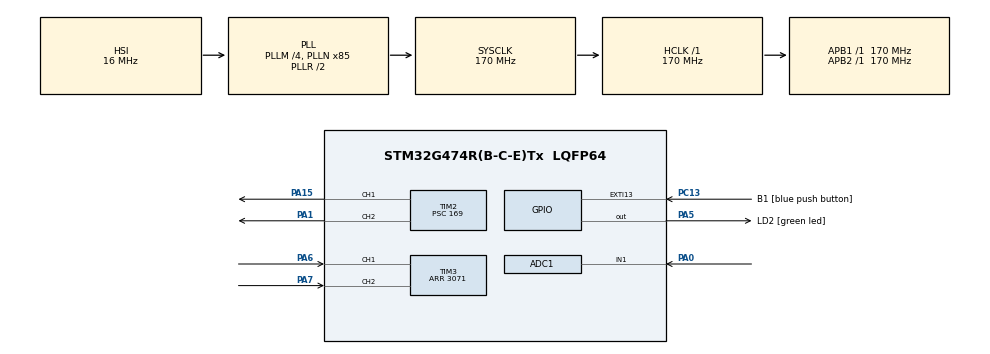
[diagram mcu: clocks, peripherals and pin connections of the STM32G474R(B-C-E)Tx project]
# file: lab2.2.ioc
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ADC1.Channel-0\#ChannelRegularConversion=ADC_CHANNEL_1
ADC1.NbrOfConversionFlag=1
ADC1.OffsetNumber-0\#ChannelRegularConversion=ADC_OFFSET_NONE
ADC1.Rank-0\#ChannelRegularConversion=1
ADC1.SamplingTime-0\#ChannelRegularConversion=ADC_SAMPLETIME_2CYCLES_5
ADC1.master=1
ARM.CMSIS-DSP.1.15.0.CMSISJjDSP=Source
ARM.CMSIS.6.0.0.CMSISJjCORE=true
Mcu.Family=STM32G4
Mcu.Name=STM32G474R(B-C-E)Tx
Mcu.Package=LQFP64
NVIC.EXTI15_10_IRQn=true\:0\:0\:false\:false\:true\:true\:true\:true
NVIC.PriorityGroup=NVIC_PRIORITYGROUP_4
PA0.Mode=IN1-Single-Ended
PA0.Signal=ADC1_IN1
PA1.Signal=S_TIM2_CH2
PA13.GPIO_Label=T_SWDIO
PA13.Mode=Trace_Asynchronous_SW
PA13.Signal=SYS_JTMS-SWDIO
PA14.GPIO_Label=T_SWCLK
PA14.Mode=Trace_Asynchronous_SW
PA14.Signal=SYS_JTCK-SWCLK
PA15.Signal=S_TIM2_CH1
PA2.GPIO_Label=LPUART1_TX [STLINKV3E_VCP_RX]
PA2.Signal=LPUART1_TX
PA3.GPIO_Label=LPUART1_RX [STLINKV3E_VCP_TX]
PA3.Signal=LPUART1_RX
PA5.GPIO_Label=LD2 [green led]
PA5.Signal=GPIO_Output
PA6.Signal=S_TIM3_CH1
PA7.Signal=S_TIM3_CH2
PB3.GPIO_Label=T_SWO
PB3.Mode=Trace_Asynchronous_SW
PB3.Signal=SYS_JTDO-SWO
PC13.GPIO_Label=B1 [blue push button]
PC13.Signal=GPXTI13
PC14-OSC32_IN.Mode=LSE-External-Oscillator
PC14-OSC32_IN.Signal=RCC_OSC32_IN
PC15-OSC32_OUT.Mode=LSE-External-Oscillator
PC15-OSC32_OUT.Signal=RCC_OSC32_OUT
PF0-OSC_IN.Mode=HSE-External-Oscillator
PF0-OSC_IN.Signal=RCC_OSC_IN
PF1-OSC_OUT.Mode=HSE-External-Oscillator
PF1-OSC_OUT.Signal=RCC_OSC_OUT
ProjectManager.HeapSize=0x200
ProjectManager.StackSize=0x400
ProjectManager.TargetToolchain=STM32CubeIDE
RCC.ADC12Freq_Value=170000000
RCC.ADC345Freq_Value=170000000
RCC.AHBFreq_Value=170000000
RCC.APB1Freq_Value=170000000
RCC.APB1TimFreq_Value=170000000
RCC.APB2Freq_Value=170000000
RCC.APB2TimFreq_Value=170000000
RCC.CortexFreq_Value=170000000
RCC.EXTERNAL_CLOCK_VALUE=12288000
RCC.HCLKFreq_Value=170000000
RCC.HSE_VALUE=24000000
RCC.HSI48_VALUE=48000000
RCC.HSI_VALUE=16000000
RCC.PLLM=RCC_PLLM_DIV4
RCC.PLLN=85
RCC.RTCClockSelection=RCC_RTCCLKSOURCE_LSE
RCC.SYSCLKFreq_VALUE=170000000
RCC.SYSCLKSource=RCC_SYSCLKSOURCE_PLLCLK
RCC.USBFreq_Value=170000000
RCC.VCOOutputFreq_Value=340000000
SH.S_TIM2_CH1.0=TIM2_CH1,PWM Generation1 CH1
SH.S_TIM2_CH2.0=TIM2_CH2,PWM Generation2 CH2
SH.S_TIM3_CH1.0=TIM3_CH1,Encoder_Interface
SH.S_TIM3_CH2.0=TIM3_CH2,Encoder_Interface
TIM2.Channel-PWM\ Generation1\ CH1=TIM_CHANNEL_1
TIM2.Channel-PWM\ Generation2\ CH2=TIM_CHANNEL_2
TIM2.PeriodNoDither=19999
TIM2.Prescaler=169
TIM2.PulseNoDither_1=2000
TIM3.EncoderMode=TIM_ENCODERMODE_TI12
TIM3.PeriodNoDither=3071
VP_ARM.CMSIS-DSP_VS_CMSISJjDSP_1.15.0_1.15.0.Mode=CMSISJjDSP
VP_ARM.CMSIS_VS_CMSISJjCORE_6.0.0_6.0.0.Mode=CMSISJjCORE
VP_SYS_VS_DBSignals.Mode=DisableDeadBatterySignals
VP_TIM2_VS_ClockSourceINT.Mode=Internal
board=NUCLEO-G474RE

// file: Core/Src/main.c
/* USER CODE BEGIN Header */
/**
  ******************************************************************************
  * @file           : main.c
  * @brief          : Main program body
  ******************************************************************************
  * @attention
  *
  * Copyright (c) 2024 STMicroelectronics.
  * All rights reserved.
  *
  * This software is licensed under terms that can be found in the LICENSE file
  * in the root directory of this software component.
  * If no LICENSE file comes with this software, it is provided AS-IS.
  *
  ******************************************************************************
  */
/* USER CODE END Header */
#include "main.h"

/* USER CODE BEGIN Includes */
#include "arm_math.h"
/* USER CODE END Includes */

ADC_HandleTypeDef hadc1;

TIM_HandleTypeDef htim2;
TIM_HandleTypeDef htim3;

/* USER CODE BEGIN PV */
arm_pid_instance_f32 PID = {0};
float position =0;
float setposition =0;
float Vfeedback = 0;
float speed=0;

uint32_t QEIReadRaw;
float Angular=0;
float MotorSetpoint=0;

//ADC
struct _ADC_tag
{
ADC_ChannelConfTypeDef Config;
uint16_t data;
};
struct _ADC_tag ADC1_Channel[1] =
{
{
.Config.Channel = ADC_CHANNEL_1,
.Config.Rank = ADC_REGULAR_RANK_1,
.Config.SamplingTime = ADC_SAMPLETIME_640CYCLES_5,
.Config.SingleDiff = ADC_SINGLE_ENDED,
.Config.OffsetNumber = ADC_OFFSET_NONE,
.Config.Offset = 0,
.data = 0
},

};

//float PlantSimulation(float VIn) // run with fix frequency
//	  {
//	  static float speed =0;
//	  static float position =0;
//	  float current= VIn - speed * 0.0123;
//	  float torque = current * 0.456;
//	  float acc = torque * 0.789;
//	  speed += acc;
//	  position += speed;
//	  return position;
//	  }
/* USER CODE END PV */

void SystemClock_Config(void);
static void MX_GPIO_Init(void);
static void MX_TIM3_Init(void);
static void MX_ADC1_Init(void);
static void MX_TIM2_Init(void);
/* USER CODE BEGIN PFP */
void ADC_Read_blocking();
float PlantSimulation(float VIn) ;

/* USER CODE END PFP */

int main(void)
{

  /* MCU Configuration--------------------------------------------------------*/

  /* Reset of all peripherals, Initializes the Flash interface and the Systick. */
  HAL_Init();

  /* Configure the system clock */
  SystemClock_Config();

  /* Initialize all configured peripherals */
  MX_GPIO_Init();
  MX_TIM3_Init();
  MX_ADC1_Init();
  MX_TIM2_Init();
  /* USER CODE BEGIN 2 */
  HAL_TIM_Encoder_Start(&htim3,TIM_CHANNEL_ALL);
  HAL_ADCEx_Calibration_Start(&hadc1, ADC_SINGLE_ENDED);
  HAL_TIM_Base_Start(&htim2);
  HAL_TIM_PWM_Start(&htim2, TIM_CHANNEL_1);
  HAL_TIM_PWM_Start(&htim2, TIM_CHANNEL_2);

  PID.Kp =0.1;
  PID.Ki =0;
  PID.Kd = 0;
  arm_pid_init_f32(&PID, 0);
  /* USER CODE END 2 */

  /* Infinite loop */
  while (1)
  {

    /* USER CODE BEGIN 3 */

	  QEIReadRaw = __HAL_TIM_GET_COUNTER(&htim3);
	  angularposition();
	  ADC_Read_blocking();
	  Setpoint();
	  if (Vfeedback>0.5)
	  {
		  speed=(Vfeedback*20.0)+200.0;
	  __HAL_TIM_SET_COMPARE(&htim2, TIM_CHANNEL_1, 0);
	  __HAL_TIM_SET_COMPARE(&htim2, TIM_CHANNEL_2, speed);
	  }

	  else if (Vfeedback<-0.5)
	 	  {
		  speed=-(Vfeedback*20.0)+200.0;
	 	  __HAL_TIM_SET_COMPARE(&htim2, TIM_CHANNEL_1,speed);
	 	  __HAL_TIM_SET_COMPARE(&htim2, TIM_CHANNEL_2, 0);
	 	  }
	  else if (Vfeedback <0.5 && Vfeedback>-0.5)
	 	  {
	 		  __HAL_TIM_SET_COMPARE(&htim2, TIM_CHANNEL_1, 0);
	 		  	  __HAL_TIM_SET_COMPARE(&htim2, TIM_CHANNEL_2, 0);
	 	  }

	  static uint32_t timestamp =0;
	  if(timestamp < HAL_GetTick())
	  {
	  timestamp = HAL_GetTick()+10;
	  Vfeedback = (arm_pid_f32(&PID, setposition - position))*10;
//	  position = PlantSimulation(Vfeedback);
	  }

  }
  /* USER CODE END 3 */
}

void SystemClock_Config(void)
{
  RCC_OscInitTypeDef RCC_OscInitStruct = {0};
  RCC_ClkInitTypeDef RCC_ClkInitStruct = {0};

  /** Configure the main internal regulator output voltage
  */
  HAL_PWREx_ControlVoltageScaling(PWR_REGULATOR_VOLTAGE_SCALE1_BOOST);

  /** Initializes the RCC Oscillators according to the specified parameters
  * in the RCC_OscInitTypeDef structure.
  */
  RCC_OscInitStruct.OscillatorType = RCC_OSCILLATORTYPE_HSI;
  RCC_OscInitStruct.HSIState = RCC_HSI_ON;
  RCC_OscInitStruct.HSICalibrationValue = RCC_HSICALIBRATION_DEFAULT;
  RCC_OscInitStruct.PLL.PLLState = RCC_PLL_ON;
  RCC_OscInitStruct.PLL.PLLSource = RCC_PLLSOURCE_HSI;
  RCC_OscInitStruct.PLL.PLLM = RCC_PLLM_DIV4;
  RCC_OscInitStruct.PLL.PLLN = 85;
  RCC_OscInitStruct.PLL.PLLP = RCC_PLLP_DIV2;
  RCC_OscInitStruct.PLL.PLLQ = RCC_PLLQ_DIV2;
  RCC_OscInitStruct.PLL.PLLR = RCC_PLLR_DIV2;
  if (HAL_RCC_OscConfig(&RCC_OscInitStruct) != HAL_OK)
  {
    Error_Handler();
  }

  /** Initializes the CPU, AHB and APB buses clocks
  */
  RCC_ClkInitStruct.ClockType = RCC_CLOCKTYPE_HCLK|RCC_CLOCKTYPE_SYSCLK
                              |RCC_CLOCKTYPE_PCLK1|RCC_CLOCKTYPE_PCLK2;
  RCC_ClkInitStruct.SYSCLKSource = RCC_SYSCLKSOURCE_PLLCLK;
  RCC_ClkInitStruct.AHBCLKDivider = RCC_SYSCLK_DIV1;
  RCC_ClkInitStruct.APB1CLKDivider = RCC_HCLK_DIV1;
  RCC_ClkInitStruct.APB2CLKDivider = RCC_HCLK_DIV1;

  if (HAL_RCC_ClockConfig(&RCC_ClkInitStruct, FLASH_LATENCY_4) != HAL_OK)
  {
    Error_Handler();
  }
}

static void MX_ADC1_Init(void)
{

  ADC_MultiModeTypeDef multimode = {0};
  ADC_ChannelConfTypeDef sConfig = {0};

  /** Common config
  */
  hadc1.Instance = ADC1;
  hadc1.Init.ClockPrescaler = ADC_CLOCK_SYNC_PCLK_DIV4;
  hadc1.Init.Resolution = ADC_RESOLUTION_12B;
  hadc1.Init.DataAlign = ADC_DATAALIGN_RIGHT;
  hadc1.Init.GainCompensation = 0;
  hadc1.Init.ScanConvMode = ADC_SCAN_DISABLE;
  hadc1.Init.EOCSelection = ADC_EOC_SINGLE_CONV;
  hadc1.Init.LowPowerAutoWait = DISABLE;
  hadc1.Init.ContinuousConvMode = DISABLE;
  hadc1.Init.NbrOfConversion = 1;
  hadc1.Init.DiscontinuousConvMode = DISABLE;
  hadc1.Init.ExternalTrigConv = ADC_SOFTWARE_START;
  hadc1.Init.ExternalTrigConvEdge = ADC_EXTERNALTRIGCONVEDGE_NONE;
  hadc1.Init.DMAContinuousRequests = DISABLE;
  hadc1.Init.Overrun = ADC_OVR_DATA_PRESERVED;
  hadc1.Init.OversamplingMode = DISABLE;
  if (HAL_ADC_Init(&hadc1) != HAL_OK)
  {
    Error_Handler();
  }

  /** Configure the ADC multi-mode
  */
  multimode.Mode = ADC_MODE_INDEPENDENT;
  if (HAL_ADCEx_MultiModeConfigChannel(&hadc1, &multimode) != HAL_OK)
  {
    Error_Handler();
  }

  /** Configure Regular Channel
  */
  sConfig.Channel = ADC_CHANNEL_1;
  sConfig.Rank = ADC_REGULAR_RANK_1;
  sConfig.SamplingTime = ADC_SAMPLETIME_2CYCLES_5;
  sConfig.SingleDiff = ADC_SINGLE_ENDED;
  sConfig.OffsetNumber = ADC_OFFSET_NONE;
  sConfig.Offset = 0;
  if (HAL_ADC_ConfigChannel(&hadc1, &sConfig) != HAL_OK)
  {
    Error_Handler();
  }

}

static void MX_TIM2_Init(void)
{

  TIM_ClockConfigTypeDef sClockSourceConfig = {0};
  TIM_MasterConfigTypeDef sMasterConfig = {0};
  TIM_OC_InitTypeDef sConfigOC = {0};

  htim2.Instance = TIM2;
  htim2.Init.Prescaler = 169;
  htim2.Init.CounterMode = TIM_COUNTERMODE_UP;
  htim2.Init.Period = 19999;
  htim2.Init.ClockDivision = TIM_CLOCKDIVISION_DIV1;
  htim2.Init.AutoReloadPreload = TIM_AUTORELOAD_PRELOAD_DISABLE;
  if (HAL_TIM_Base_Init(&htim2) != HAL_OK)
  {
    Error_Handler();
  }
  sClockSourceConfig.ClockSource = TIM_CLOCKSOURCE_INTERNAL;
  if (HAL_TIM_ConfigClockSource(&htim2, &sClockSourceConfig) != HAL_OK)
  {
    Error_Handler();
  }
  if (HAL_TIM_PWM_Init(&htim2) != HAL_OK)
  {
    Error_Handler();
  }
  sMasterConfig.MasterOutputTrigger = TIM_TRGO_RESET;
  sMasterConfig.MasterSlaveMode = TIM_MASTERSLAVEMODE_DISABLE;
  if (HAL_TIMEx_MasterConfigSynchronization(&htim2, &sMasterConfig) != HAL_OK)
  {
    Error_Handler();
  }
  sConfigOC.OCMode = TIM_OCMODE_PWM1;
  sConfigOC.Pulse = 2000;
  sConfigOC.OCPolarity = TIM_OCPOLARITY_HIGH;
  sConfigOC.OCFastMode = TIM_OCFAST_DISABLE;
  if (HAL_TIM_PWM_ConfigChannel(&htim2, &sConfigOC, TIM_CHANNEL_1) != HAL_OK)
  {
    Error_Handler();
  }
  sConfigOC.Pulse = 0;
  if (HAL_TIM_PWM_ConfigChannel(&htim2, &sConfigOC, TIM_CHANNEL_2) != HAL_OK)
  {
    Error_Handler();
  }
  HAL_TIM_MspPostInit(&htim2);

}

static void MX_TIM3_Init(void)
{

  TIM_Encoder_InitTypeDef sConfig = {0};
  TIM_MasterConfigTypeDef sMasterConfig = {0};

  htim3.Instance = TIM3;
  htim3.Init.Prescaler = 0;
  htim3.Init.CounterMode = TIM_COUNTERMODE_UP;
  htim3.Init.Period = 3071;
  htim3.Init.ClockDivision = TIM_CLOCKDIVISION_DIV1;
  htim3.Init.AutoReloadPreload = TIM_AUTORELOAD_PRELOAD_DISABLE;
  sConfig.EncoderMode = TIM_ENCODERMODE_TI12;
  sConfig.IC1Polarity = TIM_ICPOLARITY_RISING;
  sConfig.IC1Selection = TIM_ICSELECTION_DIRECTTI;
  sConfig.IC1Prescaler = TIM_ICPSC_DIV1;
  sConfig.IC1Filter = 0;
  sConfig.IC2Polarity = TIM_ICPOLARITY_RISING;
  sConfig.IC2Selection = TIM_ICSELECTION_DIRECTTI;
  sConfig.IC2Prescaler = TIM_ICPSC_DIV1;
  sConfig.IC2Filter = 0;
  if (HAL_TIM_Encoder_Init(&htim3, &sConfig) != HAL_OK)
  {
    Error_Handler();
  }
  sMasterConfig.MasterOutputTrigger = TIM_TRGO_RESET;
  sMasterConfig.MasterSlaveMode = TIM_MASTERSLAVEMODE_DISABLE;
  if (HAL_TIMEx_MasterConfigSynchronization(&htim3, &sMasterConfig) != HAL_OK)
  {
    Error_Handler();
  }

}

static void MX_GPIO_Init(void)
{
  GPIO_InitTypeDef GPIO_InitStruct = {0};

  /* GPIO Ports Clock Enable */
  __HAL_RCC_GPIOC_CLK_ENABLE();
  __HAL_RCC_GPIOF_CLK_ENABLE();
  __HAL_RCC_GPIOA_CLK_ENABLE();
  __HAL_RCC_GPIOB_CLK_ENABLE();

  /*Configure GPIO pin Output Level */
  HAL_GPIO_WritePin(LD2_GPIO_Port, LD2_Pin, GPIO_PIN_RESET);

  /*Configure GPIO pin : B1_Pin */
  GPIO_InitStruct.Pin = B1_Pin;
  GPIO_InitStruct.Mode = GPIO_MODE_IT_RISING;
  GPIO_InitStruct.Pull = GPIO_NOPULL;
  HAL_GPIO_Init(B1_GPIO_Port, &GPIO_InitStruct);

  /*Configure GPIO pins : LPUART1_TX_Pin LPUART1_RX_Pin */
  GPIO_InitStruct.Pin = LPUART1_TX_Pin|LPUART1_RX_Pin;
  GPIO_InitStruct.Mode = GPIO_MODE_AF_PP;
  GPIO_InitStruct.Pull = GPIO_NOPULL;
  GPIO_InitStruct.Speed = GPIO_SPEED_FREQ_LOW;
  GPIO_InitStruct.Alternate = GPIO_AF12_LPUART1;
  HAL_GPIO_Init(GPIOA, &GPIO_InitStruct);

  /*Configure GPIO pin : LD2_Pin */
  GPIO_InitStruct.Pin = LD2_Pin;
  GPIO_InitStruct.Mode = GPIO_MODE_OUTPUT_PP;
  GPIO_InitStruct.Pull = GPIO_NOPULL;
  GPIO_InitStruct.Speed = GPIO_SPEED_FREQ_LOW;
  HAL_GPIO_Init(LD2_GPIO_Port, &GPIO_InitStruct);

  /* EXTI interrupt init*/
  HAL_NVIC_SetPriority(EXTI15_10_IRQn, 0, 0);
  HAL_NVIC_EnableIRQ(EXTI15_10_IRQn);

}

/* USER CODE BEGIN 4 */
void Setpoint()
{
	setposition= (ADC1_Channel[0].data/4095.0)*360;
}

void angularposition()
{
	position=(QEIReadRaw/3072.0)*360.0;
}

void ADC_Read_blocking()
{
static uint32_t TimeStamp = 0;
if( HAL_GetTick()<TimeStamp) return;
TimeStamp = HAL_GetTick()+500;
for(int i=0;i<1;i++)
{
HAL_ADC_ConfigChannel(&hadc1, &ADC1_Channel[i].Config);
HAL_ADC_Start(&hadc1);
HAL_ADC_PollForConversion(&hadc1, 100);
ADC1_Channel[i].data = HAL_ADC_GetValue(&hadc1);
HAL_ADC_Stop(&hadc1);
}
}
/* USER CODE END 4 */

void Error_Handler(void)
{
  __disable_irq();
  while (1)
  {
  }
}
